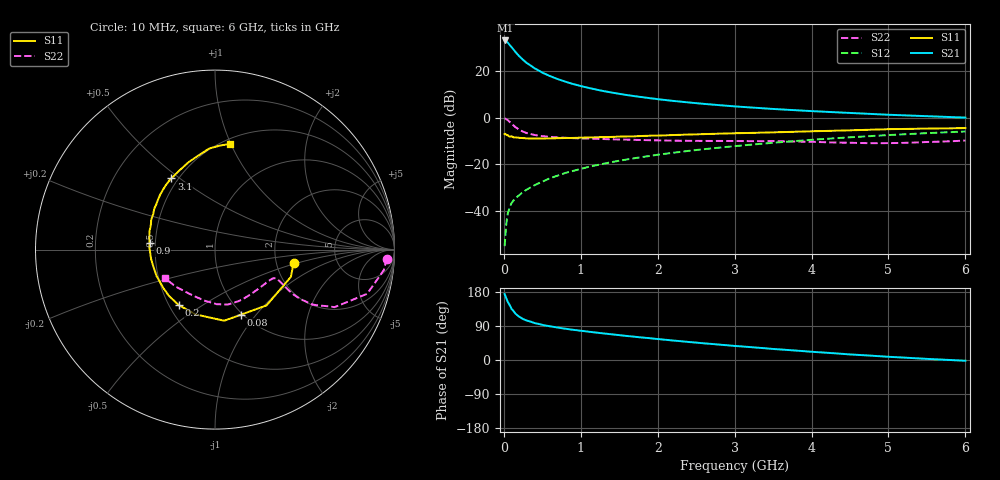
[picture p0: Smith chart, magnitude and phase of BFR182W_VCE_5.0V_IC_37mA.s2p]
! Infineon Technologies  Discrete & RF Semiconductors
! BFR182W
! VCE =  5.0 V,  IC =  37 mA
! Common Emitter S-Parameters:  Jan 2017
# GHz  S  MA  R  50
!  f  S11  S21  S12  S22
! GHz  MAG  ANG  MAG  ANG  MAG  ANG  MAG  ANG
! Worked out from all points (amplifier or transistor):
!   77 points, 10 MHz to 6 GHz, reference 50 ohm
!   highest |S21| = 32.9 dB at 20 MHz (marker M1)
!   |S21| within 3 dB of that: start of sweep to 104.5 MHz
!   unconditionally stable (mu >= 1): 524.2 MHz to 2.207 GHz
!   at 130 MHz: K = 0.54, MSG = 32.0 dB, |S12| = -35.2 dB
!   at 2.2 GHz: K = 1.00, MAG = 10.9 dB, |S12| = -15.0 dB
!   at 6 GHz: K = 0.86, MSG = 3.0 dB, |S12| = -6.0 dB
!   S11 on the Smith chart (normalised r, x): 10 MHz: 2.49, -0.47; 80 MHz: 0.98, -0.84; 200 MHz: 0.56, -0.40; 900 MHz: 0.46, +0.04; 3.1 GHz: 0.46, +0.47; 6 GHz: 0.54, +1.00
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0.01  0.4441 -9.9  44.01 174.0  0.0018 83.7  0.9585 -3.0
0.02  0.4494 -19.7  44.06 168.9  0.003 91.9  0.9475 -6.9
0.05  0.4232 -47.3  39.89 153.6  0.0088 75.4  0.8829 -16.2
0.08  0.3904 -68.1  34.59 143.3  0.0124 69.4  0.7942 -21.5
0.1  0.3996 -82.6  31.85 134.7  0.0149 67.0  0.7396 -25.7
0.15  0.3769 -106.7  25.13 122.4  0.019 64.5  0.6242 -29.4
0.2  0.3695 -123.1  20.35 114.2  0.022 65.9  0.5491 -30.1
0.25  0.3639 -134.7  17 108.1  0.0259 65.7  0.4993 -29.7
0.3  0.3586 -143.4  14.48 103.9  0.0291 67.3  0.4642 -28.8
0.4  0.3573 -155.8  11.21 97.4  0.0359 68.8  0.4236 -27.1
0.5  0.3562 -164.5  9.083 92.7  0.0427 70.5  0.4007 -26.1
0.6  0.3597 -171.4  7.656 88.9  0.0507 72.2  0.3862 -25.4
0.7  0.3615 -176.8  6.603 85.6  0.0577 73.3  0.3761 -25.2
0.9  0.3667 174.0  5.183 79.7  0.0725 73.6  0.3633 -26.1
1.1  0.3755 166.9  4.29 74.8  0.0883 73.7  0.3547 -27.7
1.3  0.381 160.4  3.658 70.0  0.1035 73.6  0.3471 -30.0
1.5  0.3917 155.1  3.201 65.7  0.1195 72.8  0.3394 -32.9
2.1  0.4169 140.8  2.363 53.4  0.1687 69.5  0.323 -44.5
3.1  0.4651 121.5  1.685 35.7  0.2535 61.9  0.3146 -67.8
4.1  0.5131 105.3  1.346 20.4  0.3428 52.8  0.2999 -91.0
5.1  0.5672 92.0  1.13 7.4  0.4301 42.4  0.2857 -123.2
6  0.5956 81.8  0.996 -2.0  0.5035 32.5  0.3222 -150.6
